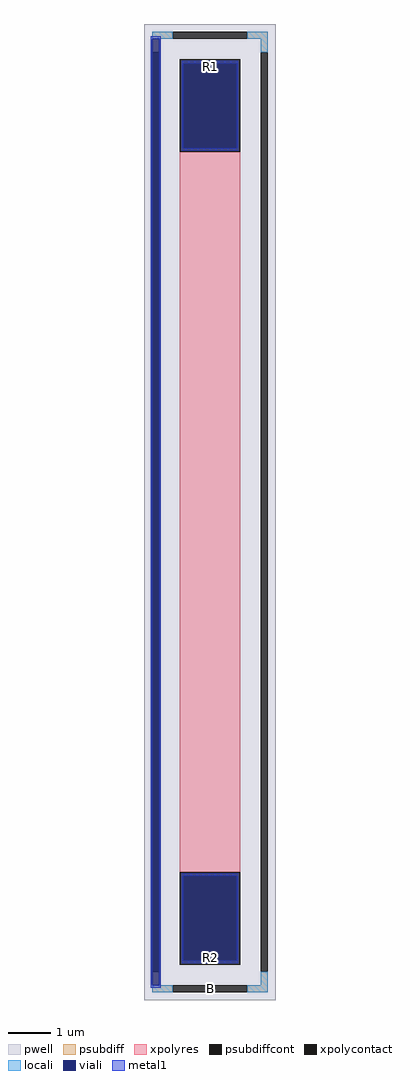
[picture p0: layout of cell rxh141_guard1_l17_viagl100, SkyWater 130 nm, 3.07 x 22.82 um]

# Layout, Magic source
magic
tech sky130A
magscale 1 2
<< pwell >>
rect -307 -2282 307 2282
<< psubdiff >>
rect -271 2212 -175 2246
rect 175 2212 271 2246
rect -271 2150 -237 2212
rect 237 2150 271 2212
rect -271 -2212 -237 -2150
rect 237 -2212 271 -2150
rect -271 -2246 -175 -2212
rect 175 -2246 271 -2212
<< psubdiffcont >>
rect -175 2212 175 2246
rect -271 -2150 -237 2150
rect 237 -2150 271 2150
rect -175 -2246 175 -2212
<< xpolycontact >>
rect -141 1684 141 2116
rect -141 -2116 141 -1684
<< xpolyres >>
rect -141 -1684 141 1684
<< locali >>
rect -271 2212 -175 2246
rect 175 2212 271 2246
rect 237 2150 271 2212
rect 237 -2212 271 -2150
rect -271 -2246 -175 -2212
rect 175 -2246 271 -2212
<< viali >>
rect -271 2150 -237 2212
rect -271 -2150 -237 2150
rect -125 1701 125 2098
rect -125 -2098 125 -1701
rect -271 -2212 -237 -2150
<< metal1 >>
rect -277 2212 -231 2224
rect -277 -2212 -271 2212
rect -237 -2212 -231 2212
rect -131 2098 131 2110
rect -131 1701 -125 2098
rect 125 1701 131 2098
rect -131 1689 131 1701
rect -131 -1701 131 -1689
rect -131 -2098 -125 -1701
rect 125 -2098 131 -1701
rect -131 -2110 131 -2098
rect -277 -2224 -231 -2212
<< labels >>
rlabel psubdiffcont 0 -2229 0 -2229 0 B
port 1 nsew
rlabel xpolycontact 0 2081 0 2081 0 R1
port 2 nsew
rlabel xpolycontact 0 -2081 0 -2081 0 R2
port 3 nsew
<< properties >>
string FIXED_BBOX -254 -2229 254 2229
string gencell sky130_fd_pr__res_xhigh_po_1p41
string library sky130
string parameters w 1.410 l 17 m 1 nx 1 wmin 1.410 lmin 0.50 class resistor rho 2000 val 24.38k dummy 0 dw 0.0 term 188.2 sterm 0.0 caplen 0 wmax 1.410 guard 1 glc 1 grc 1 gtc 1 gbc 1 compatible {sky130_fd_pr__res_xhigh_po_0p35  sky130_fd_pr__res_xhigh_po_0p69 sky130_fd_pr__res_xhigh_po_1p41  sky130_fd_pr__res_xhigh_po_2p85 sky130_fd_pr__res_xhigh_po_5p73} snake 0 full_metal 1 n_guard 0 hv_guard 0 vias 1 viagb 0 viagt 0 viagl 100 viagr 0 doports 1
<< end >>
